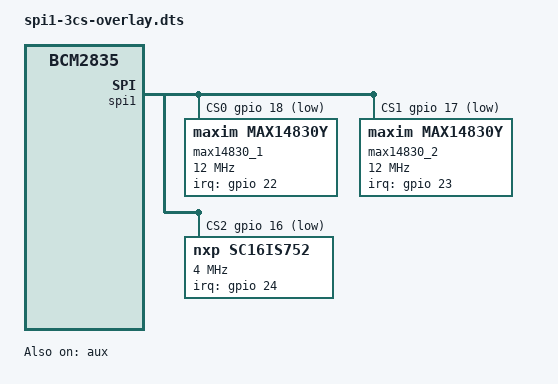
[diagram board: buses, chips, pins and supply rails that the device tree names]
/dts-v1/;
/plugin/;


/ {
	compatible = "brcm,bcm2835";

	fragment@0 {
		target = <&gpio>;
		__overlay__ {
			spi1_pins: spi1_pins {
				brcm,pins = <19 20 21>;
				brcm,function = <3>; /* alt4 */
			};

			spi1_cs_pins: spi1_cs_pins {
				brcm,pins = <18 17 16>;
				brcm,function = <1>; /* output */
			};

			max14830_pins: max_14830_pins {
				brcm,pins = <22>;
				brcm,function = <0>; /* in */
				brcm,pull = <0>; /* none */
			};

			max14830_pins1: max_14830_pins1 {
				brcm,pins = <23>;
				brcm,function = <0>; /* in */
				brcm,pull = <0>; /* none */
			};
		};
	};

	fragment@1 {
		target = <&spi1>;
		frag1: __overlay__ {
			/* needed to avoid dtc warning */
			#address-cells = <1>;
			#size-cells = <0>;
			pinctrl-names = "default";
			pinctrl-0 = <&spi1_pins &spi1_cs_pins>;
			cs-gpios = <&gpio 18 1>, <&gpio 17 1>, <&gpio 16 1>;
			status = "okay";

			max14830_1: max14830_1@0 {
				compatible = "maxim,max14830y";
				reg = <0>; /* CE0 */
				clocks = <&max_oscy>;
				clock-names = "xtal1";
				spi-max-frequency = <12000000>;
				status = "okay";
				pinctrl-names = "default";
				pinctrl-0 = <&max14830_pins>;
				interrupt-parent = <&gpio>;
				interrupts = <22 0x2>; /* falling edge */

				max_oscy: max_oscy {
					compatible = "fixed-clock";
					#clock-cells = <0>;
					clock-frequency = <3686400>;   /* 2 MHz */
				};

			};

			max14830_2: max14830_2@1 {
				compatible = "maxim,max14830y";
				reg = <1>; /* CE1 */
				clocks = <&max_osc1>;
				clock-names = "xtal1";
				spi-max-frequency = <12000000>;
				status = "okay";
				pinctrl-names = "default";
				pinctrl-0 = <&max14830_pins1>;
				interrupt-parent = <&gpio>;
				interrupts = <23 0x2>; /* falling edge */
				max_osc1: max_osc {
					compatible = "fixed-clock";
					#clock-cells = <0>;
					clock-frequency = <3686400>;   /* 2 MHz */
				};
			};

			sc16is752: sc16is752@2 {
				compatible = "nxp,sc16is752";
				reg = <2>; /* CE2 */
				clocks = <&sc16is752_clk>;
				interrupt-parent = <&gpio>;
				interrupts = <24 2>; /* IRQ_TYPE_EDGE_FALLING */
				#gpio-controller;
				#gpio-cells = <2>;
				spi-max-frequency = <4000000>;

				sc16is752_clk: sc16is752_clk {
					compatible = "fixed-clock";
					#clock-cells = <0>;
					clock-frequency = <3686400>;

				};
			};

			spidev1_0: spidev@0 {
				compatible = "spidev";
				reg = <0>;      /* CE0 */
				#address-cells = <1>;
				#size-cells = <0>;
				spi-max-frequency = <125000000>;
				status = "disabled";
			};

			spidev1_1: spidev@1 {
				compatible = "spidev";
				reg = <1>;      /* CE1 */
				#address-cells = <1>;
				#size-cells = <0>;
				spi-max-frequency = <125000000>;
				status = "disabled";
			};

			spidev1_2: spidev@2 {
				compatible = "spidev";
				reg = <2>;      /* CE2 */
				#address-cells = <1>;
				#size-cells = <0>;
				spi-max-frequency = <125000000>;
				status = "disabled";
			};
		};
	};

	fragment@2 {
		target = <&aux>;
		__overlay__ {
			status = "okay";
		};
	};

	__overrides__ {
		cs0_pin  = <&spi1_cs_pins>,"brcm,pins:0",
			   <&frag1>,"cs-gpios:4";
		cs1_pin  = <&spi1_cs_pins>,"brcm,pins:4",
			   <&frag1>,"cs-gpios:16";
		cs2_pin  = <&spi1_cs_pins>,"brcm,pins:8",
			   <&frag1>,"cs-gpios:28";
		cs0_spidev = <&spidev1_0>,"status";
		cs1_spidev = <&spidev1_1>,"status";
		cs2_spidev = <&spidev1_2>,"status";
	};
};
